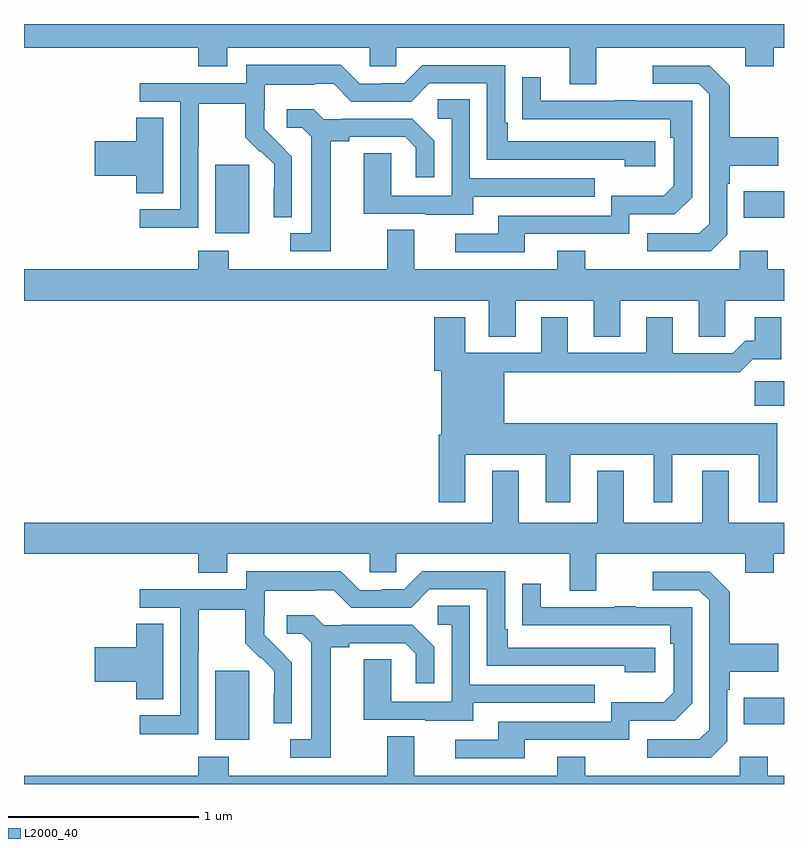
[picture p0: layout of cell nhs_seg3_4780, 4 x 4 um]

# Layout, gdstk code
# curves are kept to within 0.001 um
import gdstk
lib = gdstk.Library(unit=1e-6, precision=1e-09)
def R(c, l, rs):  # rectangles x0, y0, x1, y1
    for r in rs: c.add(gdstk.rectangle(r[:2], r[2:], *l))
def P(c, l, *ps):  # polygons
    for p in ps: c.add(gdstk.Polygon(p, *l))
L2000_40 = (2000, 40)

nhs_seg3_4780 = lib.new_cell('nhs_seg3_4780')
R(nhs_seg3_4780, L2000_40, [(370.007,670.634,370.186,670.995), (372.787,670.715,373,670.855), (372.846,672.392,373,672.521), (370.007,673.298,370.186,673.659), (372.787,673.379,373,673.519)])
P(nhs_seg3_4780, L2000_40, [(372.013,674.276),(372.797,674.276),(372.797,674.177),(372.945,674.177),(372.945,674.276),(373,674.276),(373,674.4),(369,674.4),(369,674.276),(369.917,674.276),(369.917,674.177),(370.069,674.177),(370.069,674.276),(370.821,674.276),(370.821,674.178),(370.959,674.178),(370.959,674.276),(371.873,674.276),(371.873,674.082),(372.013,674.082)],
  [(369.918,673.756),(369.921,673.756),(369.921,673.98),(370.165,673.98),(370.165,673.805),(370.242,673.728),(370.245,673.731),(370.316,673.661),(370.316,673.538),(370.314,673.538),(370.314,673.384),(370.41,673.384),(370.41,673.702),(370.264,673.85),(370.264,673.947),(370.266,673.947),(370.266,674.081),(370.529,674.081),(370.529,674.085),(370.629,674.085),(370.722,673.992),(371.037,673.992),(371.133,674.088),(371.436,674.088),(371.436,673.686),(372.161,673.686),(372.161,673.652),(372.322,673.652),(372.322,673.782),(371.545,673.782),(371.545,673.879),(371.532,673.879),(371.532,674.184),(371.097,674.184),(371.001,674.088),(370.883,674.088),(370.883,674.085),(370.767,674.085),(370.667,674.185),(370.17,674.185),(370.17,674.088),(369.609,674.088),(369.609,673.992),(369.822,673.992),(369.822,673.425),(369.609,673.425),(369.609,673.327),(369.918,673.327)],
  [(372.702,673.29),(372.702,673.559),(372.715,673.559),(372.715,673.655),(372.971,673.655),(372.971,673.803),(372.715,673.803),(372.715,674.075),(372.609,674.181),(372.309,674.181),(372.309,674.085),(372.552,674.085),(372.606,674.031),(372.606,673.35),(372.555,673.299),(372.279,673.299),(372.279,673.203),(372.615,673.203)],
  [(371.635,673.296),(372.186,673.296),(372.186,673.398),(372.426,673.398),(372.516,673.488),(372.516,673.995),(372.221,673.995),(372.221,674),(372.109,674),(372.109,673.995),(371.719,673.995),(371.719,674.119),(371.623,674.119),(371.623,673.9),(372.4,673.899),(372.4,673.802),(372.42,673.802),(372.42,673.548),(372.367,673.495),(372.09,673.495),(372.09,673.392),(371.495,673.392),(371.495,673.296),(371.271,673.296),(371.271,673.2),(371.635,673.2)],
  [(371.365,673.491),(372.005,673.491),(372.005,673.587),(371.346,673.587),(371.346,674.003),(371.178,674.003),(371.178,673.902),(371.25,673.902),(371.25,673.497),(370.932,673.497),(370.932,673.721),(370.787,673.721),(370.787,673.401),(371.111,673.401),(371.111,673.397),(371.365,673.397)],
  [(370.615,673.784),(370.711,673.784),(370.711,673.806),(371.006,673.806),(371.063,673.749),(371.063,673.593),(371.16,673.593),(371.16,673.786),(371.044,673.902),(370.672,673.902),(370.672,673.899),(370.578,673.899),(370.526,673.951),(370.383,673.951),(370.383,673.854),(370.464,673.854),(370.511,673.807),(370.511,673.299),(370.401,673.299),(370.401,673.203),(370.615,673.203)],
  [(369.733,673.907),(369.59,673.907),(369.59,673.784),(369.372,673.784),(369.372,673.601),(369.59,673.601),(369.59,673.51),(369.733,673.51)],
  [(371.587,672.944),(371.999,672.944),(371.999,672.754),(372.139,672.754),(372.139,672.944),(372.551,672.944),(372.551,672.754),(372.69,672.754),(372.69,672.944),(373,672.944),(373,673.108),(372.915,673.108),(372.915,673.207),(372.768,673.207),(372.768,673.108),(371.955,673.108),(371.955,673.207),(371.807,673.207),(371.807,673.108),(371.053,673.108),(371.053,673.316),(370.913,673.316),(370.913,673.108),(370.077,673.108),(370.077,673.207),(369.917,673.207),(369.917,673.108),(369,673.108),(369,672.944),(371.447,672.944),(371.447,672.754),(371.587,672.754)],
  [(371.323,672.134),(371.747,672.134),(371.747,671.883),(371.875,671.883),(371.875,672.134),(372.314,672.134),(372.314,671.883),(372.412,671.883),(372.412,672.134),(372.866,672.134),(372.866,671.883),(372.964,671.883),(372.964,672.298),(371.527,672.298),(371.527,672.568),(372.511,672.568),(372.511,672.566),(372.767,672.566),(372.836,672.635),(372.985,672.635),(372.985,672.856),(372.845,672.856),(372.845,672.733),(372.796,672.733),(372.729,672.666),(372.415,672.666),(372.415,672.856),(372.275,672.856),(372.275,672.669),(371.863,672.669),(371.863,672.856),(371.723,672.856),(371.723,672.669),(371.323,672.669),(371.323,672.856),(371.159,672.856),(371.159,672.576),(371.195,672.576),(371.195,672.238),(371.183,672.238),(371.183,671.883),(371.323,671.883)],
  [(372.013,671.612),(372.797,671.612),(372.797,671.513),(372.945,671.513),(372.945,671.612),(373,671.612),(373,671.776),(372.709,671.776),(372.709,672.049),(372.569,672.049),(372.569,671.776),(372.157,671.776),(372.157,672.049),(372.017,672.049),(372.017,671.776),(371.605,671.776),(371.605,672.049),(371.465,672.049),(371.465,671.776),(369,671.776),(369,671.612),(369.917,671.612),(369.917,671.513),(370.069,671.513),(370.069,671.612),(370.821,671.612),(370.821,671.514),(370.959,671.514),(370.959,671.612),(371.873,671.612),(371.873,671.418),(372.013,671.418)],
  [(369.918,671.092),(369.921,671.092),(369.921,671.316),(370.165,671.316),(370.165,671.141),(370.242,671.064),(370.245,671.067),(370.316,670.997),(370.316,670.874),(370.314,670.874),(370.314,670.72),(370.41,670.72),(370.41,671.038),(370.264,671.186),(370.264,671.283),(370.266,671.283),(370.266,671.417),(370.529,671.417),(370.529,671.421),(370.629,671.421),(370.722,671.328),(371.037,671.328),(371.133,671.424),(371.436,671.424),(371.436,671.022),(372.161,671.022),(372.161,670.988),(372.322,670.988),(372.322,671.118),(371.545,671.118),(371.545,671.215),(371.532,671.215),(371.532,671.52),(371.097,671.52),(371.001,671.424),(370.883,671.424),(370.883,671.421),(370.767,671.421),(370.667,671.521),(370.17,671.521),(370.17,671.424),(369.609,671.424),(369.609,671.328),(369.822,671.328),(369.822,670.761),(369.609,670.761),(369.609,670.663),(369.918,670.663)],
  [(372.702,670.626),(372.702,670.895),(372.715,670.895),(372.715,670.991),(372.971,670.991),(372.971,671.139),(372.715,671.139),(372.715,671.411),(372.609,671.517),(372.309,671.517),(372.309,671.421),(372.552,671.421),(372.606,671.367),(372.606,670.686),(372.555,670.635),(372.279,670.635),(372.279,670.539),(372.615,670.539)],
  [(371.635,670.632),(372.186,670.632),(372.186,670.734),(372.426,670.734),(372.516,670.824),(372.516,671.331),(372.221,671.331),(372.221,671.336),(372.109,671.336),(372.109,671.331),(371.719,671.331),(371.719,671.455),(371.623,671.455),(371.623,671.236),(372.4,671.235),(372.4,671.138),(372.42,671.138),(372.42,670.884),(372.367,670.831),(372.09,670.831),(372.09,670.728),(371.495,670.728),(371.495,670.632),(371.271,670.632),(371.271,670.536),(371.635,670.536)],
  [(371.365,670.827),(372.005,670.827),(372.005,670.923),(371.346,670.923),(371.346,671.339),(371.178,671.339),(371.178,671.238),(371.25,671.238),(371.25,670.833),(370.932,670.833),(370.932,671.057),(370.787,671.057),(370.787,670.737),(371.111,670.737),(371.111,670.733),(371.365,670.733)],
  [(370.615,671.12),(370.711,671.12),(370.711,671.142),(371.006,671.142),(371.063,671.085),(371.063,670.929),(371.16,670.929),(371.16,671.122),(371.044,671.238),(370.672,671.238),(370.672,671.235),(370.578,671.235),(370.526,671.287),(370.383,671.287),(370.383,671.19),(370.464,671.19),(370.511,671.143),(370.511,670.635),(370.401,670.635),(370.401,670.539),(370.615,670.539)],
  [(369.733,671.243),(369.59,671.243),(369.59,671.12),(369.372,671.12),(369.372,670.937),(369.59,670.937),(369.59,670.846),(369.733,670.846)],
  [(373,670.444),(372.915,670.444),(372.915,670.543),(372.768,670.543),(372.768,670.444),(371.955,670.444),(371.955,670.543),(371.807,670.543),(371.807,670.444),(371.053,670.444),(371.053,670.652),(370.913,670.652),(370.913,670.444),(370.077,670.444),(370.077,670.543),(369.917,670.543),(369.917,670.444),(369,670.444),(369,670.4),(373,670.4)])

lib.write_gds('nhs_seg3_4780.gds')
